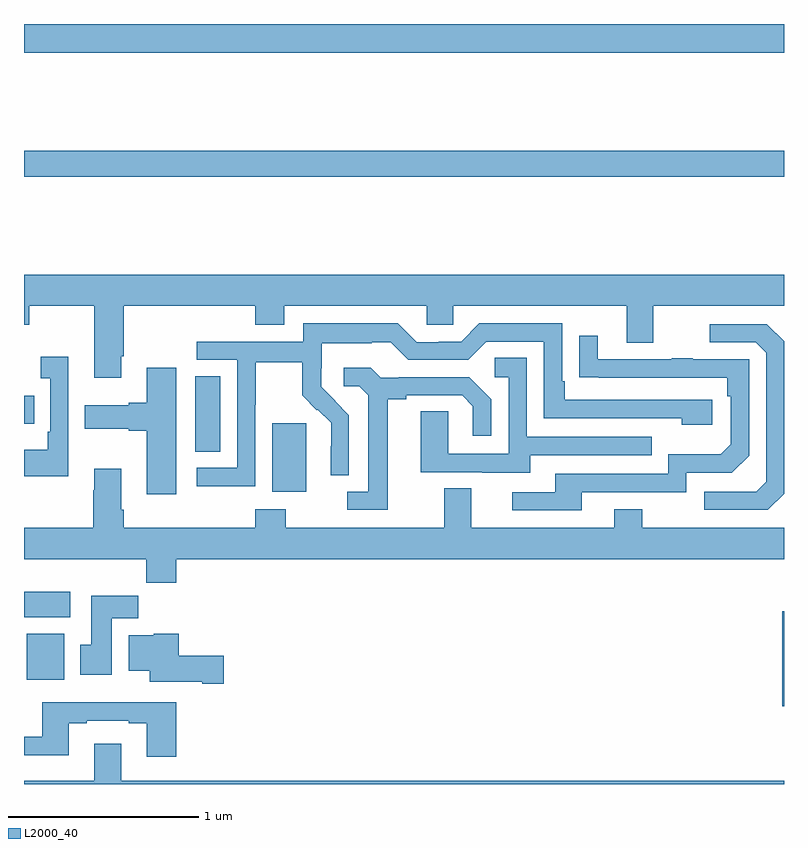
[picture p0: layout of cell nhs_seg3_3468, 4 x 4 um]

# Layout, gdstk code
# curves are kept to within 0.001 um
import gdstk
lib = gdstk.Library(unit=1e-6, precision=1e-09)
def R(c, l, rs):  # rectangles x0, y0, x1, y1
    for r in rs: c.add(gdstk.rectangle(r[:2], r[2:], *l))
def P(c, l, *ps):  # polygons
    for p in ps: c.add(gdstk.Polygon(p, *l))
L2000_40 = (2000, 40)

nhs_seg3_3468 = lib.new_cell('nhs_seg3_3468')
R(nhs_seg3_3468, L2000_40, [(294.992,698.81,295,699.309), (291.014,698.948,291.211,699.19), (291,699.278,291.244,699.412), (292.307,699.938,292.486,700.299), (291.902,700.15,292.033,700.547), (291,700.295,291.053,700.443), (291,701.596,295,701.732), (291,702.248,295,702.4)])
P(nhs_seg3_3468, L2000_40, [(291.511,700.651),(291.524,700.651),(291.524,700.916),(292.217,700.916),(292.217,700.817),(292.369,700.817),(292.369,700.916),(293.121,700.916),(293.121,700.818),(293.259,700.818),(293.259,700.916),(294.173,700.916),(294.173,700.722),(294.313,700.722),(294.313,700.916),(295,700.916),(295,701.08),(291,701.08),(291,700.817),(291.027,700.817),(291.027,700.916),(291.371,700.916),(291.371,700.539),(291.511,700.539)],
  [(292.218,700.396),(292.221,700.396),(292.221,700.62),(292.465,700.62),(292.465,700.445),(292.542,700.368),(292.545,700.371),(292.616,700.301),(292.616,700.178),(292.614,700.178),(292.614,700.024),(292.71,700.024),(292.71,700.342),(292.564,700.49),(292.564,700.587),(292.566,700.587),(292.566,700.721),(292.829,700.721),(292.829,700.725),(292.929,700.725),(293.022,700.632),(293.337,700.632),(293.433,700.728),(293.736,700.728),(293.736,700.326),(294.461,700.326),(294.461,700.292),(294.622,700.292),(294.622,700.422),(293.845,700.422),(293.845,700.519),(293.832,700.519),(293.832,700.824),(293.397,700.824),(293.301,700.728),(293.183,700.728),(293.183,700.725),(293.067,700.725),(292.967,700.825),(292.47,700.825),(292.47,700.728),(291.909,700.728),(291.909,700.632),(292.122,700.632),(292.122,700.065),(291.909,700.065),(291.909,699.967),(292.218,699.967)],
  [(295,699.928),(295,700.73),(294.909,700.821),(294.609,700.821),(294.609,700.725),(294.852,700.725),(294.906,700.671),(294.906,699.99),(294.855,699.939),(294.579,699.939),(294.579,699.843),(294.915,699.843)],
  [(293.935,699.936),(294.486,699.936),(294.486,700.038),(294.726,700.038),(294.816,700.128),(294.816,700.635),(294.521,700.635),(294.521,700.64),(294.409,700.64),(294.409,700.635),(294.019,700.635),(294.019,700.759),(293.923,700.759),(293.923,700.54),(294.7,700.539),(294.7,700.442),(294.72,700.442),(294.72,700.188),(294.667,700.135),(294.39,700.135),(294.39,700.032),(293.795,700.032),(293.795,699.936),(293.571,699.936),(293.571,699.84),(293.935,699.84)],
  [(291.234,700.648),(291.087,700.648),(291.087,700.535),(291.138,700.535),(291.138,700.255),(291.126,700.255),(291.126,700.159),(291,700.159),(291,700.019),(291.234,700.019)],
  [(293.665,700.131),(294.305,700.131),(294.305,700.227),(293.646,700.227),(293.646,700.643),(293.478,700.643),(293.478,700.542),(293.55,700.542),(293.55,700.137),(293.232,700.137),(293.232,700.361),(293.087,700.361),(293.087,700.041),(293.411,700.041),(293.411,700.037),(293.665,700.037)],
  [(292.915,700.424),(293.011,700.424),(293.011,700.446),(293.306,700.446),(293.363,700.389),(293.363,700.233),(293.46,700.233),(293.46,700.426),(293.344,700.542),(292.972,700.542),(292.972,700.539),(292.878,700.539),(292.826,700.591),(292.683,700.591),(292.683,700.494),(292.764,700.494),(292.811,700.447),(292.811,699.939),(292.701,699.939),(292.701,699.843),(292.915,699.843)],
  [(291.802,700.591),(291.647,700.591),(291.647,700.406),(291.551,700.406),(291.551,700.393),(291.321,700.393),(291.321,700.271),(291.551,700.271),(291.551,700.259),(291.647,700.259),(291.647,699.924),(291.802,699.924)],
  [(291.8,699.584),(295,699.584),(295,699.748),(294.255,699.748),(294.255,699.847),(294.107,699.847),(294.107,699.748),(293.353,699.748),(293.353,699.956),(293.213,699.956),(293.213,699.748),(292.377,699.748),(292.377,699.847),(292.217,699.847),(292.217,699.748),(291.524,699.748),(291.524,699.844),(291.511,699.844),(291.511,700.06),(291.371,700.06),(291.371,699.947),(291.364,699.947),(291.364,699.748),(291,699.748),(291,699.584),(291.643,699.584),(291.643,699.46),(291.8,699.46)],
  [(291.463,699.272),(291.602,699.272),(291.602,699.391),(291.353,699.391),(291.353,699.132),(291.296,699.132),(291.296,698.976),(291.463,698.976)],
  [(292.051,699.074),(291.815,699.074),(291.815,699.19),(291.684,699.19),(291.684,699.184),(291.551,699.184),(291.551,698.996),(291.662,698.996),(291.662,698.939),(291.938,698.939),(291.938,698.927),(292.051,698.927)],
  [(291.8,698.83),(291.095,698.83),(291.095,698.649),(291,698.649),(291,698.552),(291.235,698.552),(291.235,698.721),(291.331,698.721),(291.331,698.733),(291.551,698.733),(291.551,698.721),(291.647,698.721),(291.647,698.544),(291.8,698.544)],
  [(295,698.416),(291.511,698.416),(291.511,698.611),(291.371,698.611),(291.371,698.416),(291,698.416),(291,698.4),(295,698.4)])

lib.write_gds('nhs_seg3_3468.gds')
